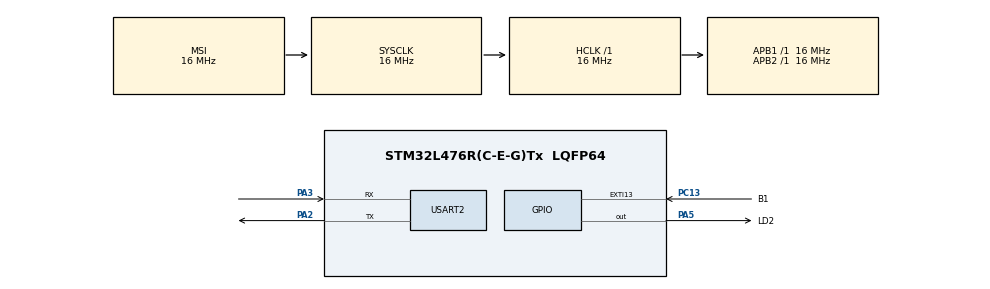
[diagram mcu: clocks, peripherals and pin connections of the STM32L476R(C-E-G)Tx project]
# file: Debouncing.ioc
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Mcu.Family=STM32L4
Mcu.Name=STM32L476R(C-E-G)Tx
Mcu.Package=LQFP64
NVIC.EXTI15_10_IRQn=true\:0\:0\:false\:false\:true\:true\:true
NVIC.PriorityGroup=NVIC_PRIORITYGROUP_4
NVIC.TIM2_IRQn=true\:0\:0\:false\:false\:true\:true\:true
PA2.Mode=Asynchronous
PA2.Signal=USART2_TX
PA3.Mode=Asynchronous
PA3.Signal=USART2_RX
PA5.GPIO_Label=LD2
PA5.Signal=GPIO_Output
PC13.GPIO_Label=B1
PC13.Signal=GPXTI13
ProjectManager.HeapSize=0x200
ProjectManager.StackSize=0x400
ProjectManager.TargetToolchain=STM32CubeIDE
RCC.ADCFreq_Value=64000000
RCC.AHBFreq_Value=16000000
RCC.APB1Freq_Value=16000000
RCC.APB1TimFreq_Value=16000000
RCC.APB2Freq_Value=16000000
RCC.APB2TimFreq_Value=16000000
RCC.CortexFreq_Value=16000000
RCC.HCLKFreq_Value=16000000
RCC.HSE_VALUE=8000000
RCC.HSI_VALUE=16000000
RCC.LSE_VALUE=32768
RCC.MSIClockRange=RCC_MSIRANGE_8
RCC.MSI_VALUE=16000000
RCC.SYSCLKFreq_VALUE=16000000
RCC.USBFreq_Value=64000000
RCC.VCOOutputFreq_Value=128000000
TIM2.Period=1
TIM2.Prescaler=16
USART2.VirtualMode-Asynchronous=VM_ASYNC
VP_TIM2_VS_ClockSourceINT.Mode=Internal
board=custom

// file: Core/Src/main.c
/* USER CODE BEGIN Header */
/**
 ******************************************************************************
 * @file           : main.c
 * @brief          : Main program body
 ******************************************************************************
 * @attention
 *
 * <h2><center>&copy; Copyright (c) 2020 STMicroelectronics.
 * All rights reserved.</center></h2>
 *
 * This software component is licensed by ST under BSD 3-Clause license,
 * the "License"; You may not use this file except in compliance with the
 * License. You may obtain a copy of the License at:
 *                        opensource.org/licenses/BSD-3-Clause
 *
 ******************************************************************************
 */
/* USER CODE END Header */

#include "main.h"

TIM_HandleTypeDef htim2;

UART_HandleTypeDef huart2;

/* USER CODE BEGIN PV */

led_t led2;
fsm_t fsm_button;
/* USER CODE END PV */

void SystemClock_Config(void);
static void MX_GPIO_Init(void);
static void MX_USART2_UART_Init(void);
static void MX_TIM2_Init(void);

/* USER CODE BEGIN 0 */
/* each 1 mSeg */
void HAL_TIM_PeriodElapsedCallback(TIM_HandleTypeDef *htim) {
	led2.counter++; /* */

	if (fsm_button.start_countdown == TRUE) {
		fsm_button.counter++;
	}

	if (led2.counter >= led2.period && led2.start == 1) { /* */
		HAL_GPIO_TogglePin(LD2_GPIO_Port, LD2_Pin); /* */
		led2.counter = 0; /* */
	}
	/* 10 mSeg elapsed*/
	if (fsm_button.counter >= TICK_PERIOD) {
		fsm_button.counter = 0;
		fsm_button.start_countdown = FALSE;
		fsm_button.new_event = TRUE;
		fsm_button.event = TICK_TIMEOUT;
	}
}

void HAL_GPIO_EXTI_Callback(uint16_t GPIO_Pin) {
	if ( fsm_button.state == WAITING ) {
		fsm_button.event = BUTTON_ON;
		fsm_button.new_event = TRUE;
	}
}
/* USER CODE END 0 */

int main(void)
{
	/* USER CODE BEGIN 1 */
	init_led_struct(&led2);
	init_fsm(&fsm_button);
	/* USER CODE END 1 */

	/* MCU Configuration--------------------------------------------------------*/

	/* Reset of all peripherals, Initializes the Flash interface and the Systick. */
	HAL_Init();

	/* Configure the system clock */
	SystemClock_Config();

	/* Initialize all configured peripherals */
	MX_GPIO_Init();
	MX_USART2_UART_Init();
	MX_TIM2_Init();
	/* USER CODE BEGIN 2 */
	HAL_TIM_Base_Start_IT(&htim2);
	HAL_UART_Transmit(&huart2, (uint8_t *)"Initializing fsm...\n", sizeof("Initializing fsm...\n")-1, 100);
	print_current_state(&fsm_button);
	/* USER CODE END 2 */

	/* Infinite loop */
	/* USER CODE BEGIN WHILE */
	while (1) {
		run_fsm(&fsm_button);
//
//		if (fsm_button.new_event == TRUE) {
//			fsm_button.new_event = FALSE;
//			switch (fsm_button.state) {
//			case WAITING:
//				print_current_state(&fsm_button);
//				if ( fsm_button.event == BUTTON_ON ) {
//					fsm_button.start_countdown = TRUE; /* init countdown of timer ISR */
//					fsm_button.state = DETECTED; /* next state of fsm */
//				}
//				break;
//			case DETECTED:
//				print_current_state(&fsm_button);
//				if ( fsm_button.event == TICK_TIMEOUT ) {
//					if (button_pressed(B1_GPIO_Port, B1_Pin)) {
//						fsm_button.state = WAIT_RELEASE; /* next state */
//						fsm_button.start_countdown = TRUE;
//					} else {
//						fsm_button.state = WAITING;
//					}
//				}
//				break;
//			case WAIT_RELEASE:
//				print_current_state(&fsm_button);
//				if ( fsm_button.event == TICK_TIMEOUT ) {
//					if (!button_pressed(B1_GPIO_Port, B1_Pin)) {
//						fsm_button.state = UPDATE;
//						fsm_button.start_countdown = TRUE;
//					} else {
//						fsm_button.state = WAIT_RELEASE;
//						fsm_button.start_countdown = TRUE;
//					}
//				}
//				break;
//			case UPDATE:
//				print_current_state(&fsm_button);
//				if ( fsm_button.event == TICK_TIMEOUT ) {
//					fsm_button.state = WAITING;
//					fsm_button.event = NON_EVENT;
//					fsm_button.new_event = FALSE;
//					print_current_state(&fsm_button);
//					HAL_GPIO_TogglePin(LD2_GPIO_Port, LD2_Pin);
//				}
//				break;
//			default:
//				print_current_state(&fsm_button);
//				HAL_UART_Transmit(&huart2, (uint8_t *)"Unknown State", sizeof("Unknown State"), 100);
//				while (1);
//				break;
//			}
//		}

		/* USER CODE END WHILE */

	}
}

void SystemClock_Config(void)
{
	RCC_OscInitTypeDef RCC_OscInitStruct = {0};
	RCC_ClkInitTypeDef RCC_ClkInitStruct = {0};
	RCC_PeriphCLKInitTypeDef PeriphClkInit = {0};

	/** Initializes the CPU, AHB and APB busses clocks
	 */
	RCC_OscInitStruct.OscillatorType = RCC_OSCILLATORTYPE_MSI;
	RCC_OscInitStruct.MSIState = RCC_MSI_ON;
	RCC_OscInitStruct.MSICalibrationValue = 0;
	RCC_OscInitStruct.MSIClockRange = RCC_MSIRANGE_8;
	RCC_OscInitStruct.PLL.PLLState = RCC_PLL_NONE;
	if (HAL_RCC_OscConfig(&RCC_OscInitStruct) != HAL_OK)
	{
		Error_Handler();
	}
	/** Initializes the CPU, AHB and APB busses clocks
	 */
	RCC_ClkInitStruct.ClockType = RCC_CLOCKTYPE_HCLK|RCC_CLOCKTYPE_SYSCLK
			|RCC_CLOCKTYPE_PCLK1|RCC_CLOCKTYPE_PCLK2;
	RCC_ClkInitStruct.SYSCLKSource = RCC_SYSCLKSOURCE_MSI;
	RCC_ClkInitStruct.AHBCLKDivider = RCC_SYSCLK_DIV1;
	RCC_ClkInitStruct.APB1CLKDivider = RCC_HCLK_DIV1;
	RCC_ClkInitStruct.APB2CLKDivider = RCC_HCLK_DIV1;

	if (HAL_RCC_ClockConfig(&RCC_ClkInitStruct, FLASH_LATENCY_0) != HAL_OK)
	{
		Error_Handler();
	}
	PeriphClkInit.PeriphClockSelection = RCC_PERIPHCLK_USART2;
	PeriphClkInit.Usart2ClockSelection = RCC_USART2CLKSOURCE_PCLK1;
	if (HAL_RCCEx_PeriphCLKConfig(&PeriphClkInit) != HAL_OK)
	{
		Error_Handler();
	}
	/** Configure the main internal regulator output voltage
	 */
	if (HAL_PWREx_ControlVoltageScaling(PWR_REGULATOR_VOLTAGE_SCALE1) != HAL_OK)
	{
		Error_Handler();
	}
}

static void MX_TIM2_Init(void)
{

	TIM_ClockConfigTypeDef sClockSourceConfig = {0};
	TIM_MasterConfigTypeDef sMasterConfig = {0};

	htim2.Instance = TIM2;
	htim2.Init.Prescaler = 16;
	htim2.Init.CounterMode = TIM_COUNTERMODE_UP;
	htim2.Init.Period = 1000;
	htim2.Init.ClockDivision = TIM_CLOCKDIVISION_DIV1;
	htim2.Init.AutoReloadPreload = TIM_AUTORELOAD_PRELOAD_DISABLE;
	if (HAL_TIM_Base_Init(&htim2) != HAL_OK)
	{
		Error_Handler();
	}
	sClockSourceConfig.ClockSource = TIM_CLOCKSOURCE_INTERNAL;
	if (HAL_TIM_ConfigClockSource(&htim2, &sClockSourceConfig) != HAL_OK)
	{
		Error_Handler();
	}
	sMasterConfig.MasterOutputTrigger = TIM_TRGO_RESET;
	sMasterConfig.MasterSlaveMode = TIM_MASTERSLAVEMODE_DISABLE;
	if (HAL_TIMEx_MasterConfigSynchronization(&htim2, &sMasterConfig) != HAL_OK)
	{
		Error_Handler();
	}

}

static void MX_USART2_UART_Init(void)
{

	huart2.Instance = USART2;
	huart2.Init.BaudRate = 115200;
	huart2.Init.WordLength = UART_WORDLENGTH_8B;
	huart2.Init.StopBits = UART_STOPBITS_1;
	huart2.Init.Parity = UART_PARITY_NONE;
	huart2.Init.Mode = UART_MODE_TX_RX;
	huart2.Init.HwFlowCtl = UART_HWCONTROL_NONE;
	huart2.Init.OverSampling = UART_OVERSAMPLING_16;
	huart2.Init.OneBitSampling = UART_ONE_BIT_SAMPLE_DISABLE;
	huart2.AdvancedInit.AdvFeatureInit = UART_ADVFEATURE_NO_INIT;
	if (HAL_UART_Init(&huart2) != HAL_OK)
	{
		Error_Handler();
	}

}

static void MX_GPIO_Init(void)
{
	GPIO_InitTypeDef GPIO_InitStruct = {0};

	/* GPIO Ports Clock Enable */
	__HAL_RCC_GPIOC_CLK_ENABLE();
	__HAL_RCC_GPIOA_CLK_ENABLE();

	/*Configure GPIO pin Output Level */
	HAL_GPIO_WritePin(LD2_GPIO_Port, LD2_Pin, GPIO_PIN_RESET);

	/*Configure GPIO pin : B1_Pin */
	GPIO_InitStruct.Pin = B1_Pin;
	GPIO_InitStruct.Mode = GPIO_MODE_IT_FALLING;
	GPIO_InitStruct.Pull = GPIO_NOPULL;
	HAL_GPIO_Init(B1_GPIO_Port, &GPIO_InitStruct);

	/*Configure GPIO pin : LD2_Pin */
	GPIO_InitStruct.Pin = LD2_Pin;
	GPIO_InitStruct.Mode = GPIO_MODE_OUTPUT_PP;
	GPIO_InitStruct.Pull = GPIO_NOPULL;
	GPIO_InitStruct.Speed = GPIO_SPEED_FREQ_LOW;
	HAL_GPIO_Init(LD2_GPIO_Port, &GPIO_InitStruct);

	/* EXTI interrupt init*/
	HAL_NVIC_SetPriority(EXTI15_10_IRQn, 0, 0);
	HAL_NVIC_EnableIRQ(EXTI15_10_IRQn);

}

/* USER CODE BEGIN 4 */
void init_led_struct ( led_t *led ) {
	led->counter = 0;
	led->period = PERIOD;
	led->start = 0;
}

void init_fsm ( fsm_t *sm ) {
	sm->state = WAITING;
	sm->event = NON_EVENT;
	sm->new_event = FALSE;
	sm->counter = 0;
	sm->start_countdown = 0;
}

void run_fsm ( fsm_t *sm ) {
	if (sm->new_event == TRUE) {
		sm->new_event = FALSE;
		switch (sm->state) {
		case WAITING:
			print_current_state(sm);
			if ( sm->event == BUTTON_ON ) {
				sm->start_countdown = TRUE; /* init countdown of timer ISR */
				sm->state = DETECTED; /* next state of fsm */
			}
			break;
		case DETECTED:
			print_current_state(sm);
			if ( sm->event == TICK_TIMEOUT ) {
				if (button_pressed(B1_GPIO_Port, B1_Pin)) {
					sm->state = WAIT_RELEASE; /* next state */
					sm->start_countdown = TRUE;
				} else {
					sm->state = WAITING;
				}
			}
			break;
		case WAIT_RELEASE:
			print_current_state(sm);
			if ( sm->event == TICK_TIMEOUT ) {
				if (!button_pressed(B1_GPIO_Port, B1_Pin)) {
					sm->state = UPDATE;
					sm->start_countdown = TRUE;
				} else {
					sm->state = WAIT_RELEASE;
					sm->start_countdown = TRUE;
				}
			}
			break;
		case UPDATE:
			print_current_state(sm);
			if ( sm->event == TICK_TIMEOUT ) {
				sm->state = WAITING;
				sm->event = NON_EVENT;
				sm->new_event = FALSE;
				print_current_state(sm);
				HAL_GPIO_TogglePin(LD2_GPIO_Port, LD2_Pin);
			}
			break;
		default:
			print_current_state(sm);
			HAL_UART_Transmit(&huart2, (uint8_t *)"Unknown State", sizeof("Unknown State"), 100);
			while (1);
			break;
		}
	}
}
GPIO_PinState button_pressed ( GPIO_TypeDef *port, uint16_t pin ) {
	return !HAL_GPIO_ReadPin(B1_GPIO_Port, B1_Pin);
}

void print_current_state ( fsm_t *fsm ) {
	switch (fsm->state) {
	case WAITING:
		HAL_UART_Transmit(&huart2, (uint8_t*)"WAITING\n", sizeof("WAITING\n")-1, 100);
		break;
	case DETECTED:
		HAL_UART_Transmit(&huart2, (uint8_t*)"DETECTED\n", sizeof("DETECTED\n")-1, 100);
		break;
	case WAIT_RELEASE:
		HAL_UART_Transmit(&huart2, (uint8_t*)"WAIT FOR RELEASE\n", sizeof("WAIT FOR RELEASE\n")-1, 100);
		break;
	case UPDATE:
		HAL_UART_Transmit(&huart2, (uint8_t*)"UPDATE\n", sizeof("UPDATE\n")-1, 100);
		break;
	default:
		HAL_UART_Transmit(&huart2, (uint8_t*)"ERROR\n", sizeof("ERROR\n")-1, 100);
		break;
	}
}

/* USER CODE END 4 */

void Error_Handler(void)
{
}

/************************ (C) COPYRIGHT STMicroelectronics *****END OF FILE****/
